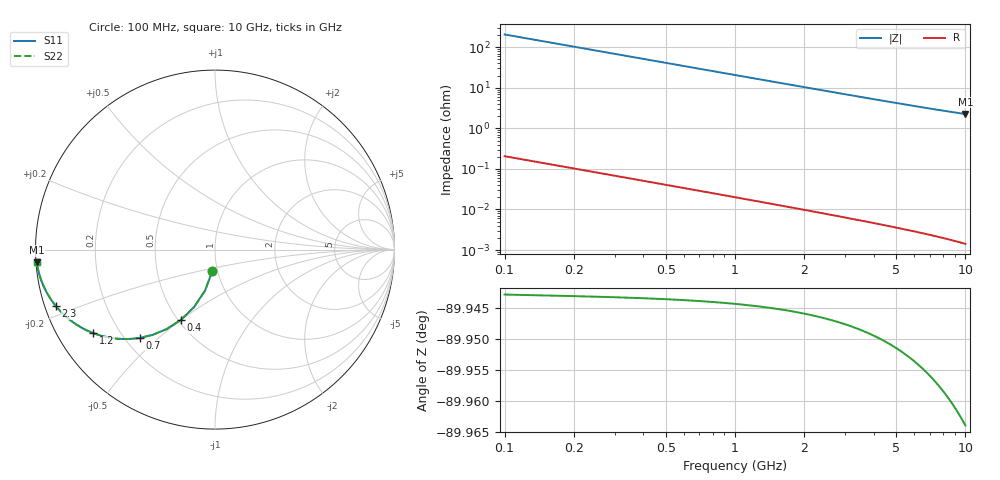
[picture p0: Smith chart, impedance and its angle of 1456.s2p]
# Hz S RI R 50.00
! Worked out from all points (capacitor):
!   100 points, 100 MHz to 10 GHz, reference 50 ohm
!   read as one part in shunt: C = 7.72 pF near 100 MHz
!   lowest |Z| = 2.25 ohm at 10 GHz (marker M1)
!   S11 on the Smith chart (normalised r, x): 100 MHz: 0.94, -0.23; 400 MHz: 0.52, -0.50; 700 MHz: 0.26, -0.44; 1.2 GHz: 0.11, -0.31; 2.3 GHz: 0.03, -0.17; 10 GHz: 0.00, -0.04
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1e8  -0.0146 -0.1193  0.9854 -0.1195  0.9854 -0.1195  -0.0146 -0.1193
2e8  -0.0557 -0.2287  0.9443 -0.2291  0.9443 -0.2291  -0.0557 -0.2287
3e8  -0.117 -0.3207  0.8829 -0.3212  0.8829 -0.3212  -0.117 -0.3207
4e8  -0.1905 -0.3919  0.8094 -0.3926  0.8094 -0.3926  -0.1905 -0.3919
5e8  -0.2688 -0.4424  0.7312 -0.4433  0.7312 -0.4433  -0.2688 -0.4424
6e8  -0.346 -0.4746  0.6539 -0.4758  0.6539 -0.4758  -0.346 -0.4746
7e8  -0.4185 -0.4922  0.5814 -0.4935  0.5814 -0.4935  -0.4185 -0.4922
9e8  -0.5432 -0.4968  0.4567 -0.4985  0.4567 -0.4985  -0.5432 -0.4968
1e9  -0.5948 -0.4895  0.4052 -0.4914  0.4052 -0.4914  -0.5948 -0.4895
1.2e9  -0.6787 -0.4654  0.3212 -0.4676  0.3212 -0.4676  -0.6787 -0.4654
1.3e9  -0.7125 -0.4509  0.2874 -0.4533  0.2874 -0.4533  -0.7125 -0.4509
1.5e9  -0.7674 -0.4206  0.2326 -0.4234  0.2326 -0.4234  -0.7674 -0.4206
1.8e9  -0.826 -0.3769  0.1739 -0.3802  0.1739 -0.3802  -0.826 -0.3769
2e9  -0.8542 -0.3505  0.1457 -0.3542  0.1457 -0.3542  -0.8542 -0.3505
2.3e9  -0.8856 -0.3155  0.1143 -0.3198  0.1143 -0.3198  -0.8856 -0.3155
2.8e9  -0.9198 -0.2684  0.0801 -0.2736  0.0801 -0.2736  -0.9198 -0.2684
3.4e9  -0.9442 -0.2258  0.0557 -0.2321  0.0557 -0.2321  -0.9442 -0.2258
4.2e9  -0.9627 -0.1848  0.0372 -0.1927  0.0372 -0.1927  -0.9627 -0.1848
5.1e9  -0.9745 -0.1522  0.0254 -0.1619  0.0254 -0.1619  -0.9745 -0.1522
6.7e9  -0.9851 -0.1138  0.0147 -0.1267  0.0147 -0.1267  -0.9851 -0.1138
8.4e9  -0.9906 -0.0875  0.00924 -0.1038  0.00924 -0.1038  -0.9906 -0.0875
1e10  -0.9934 -0.0699  0.00636 -0.0896  0.00636 -0.0896  -0.9934 -0.0699
